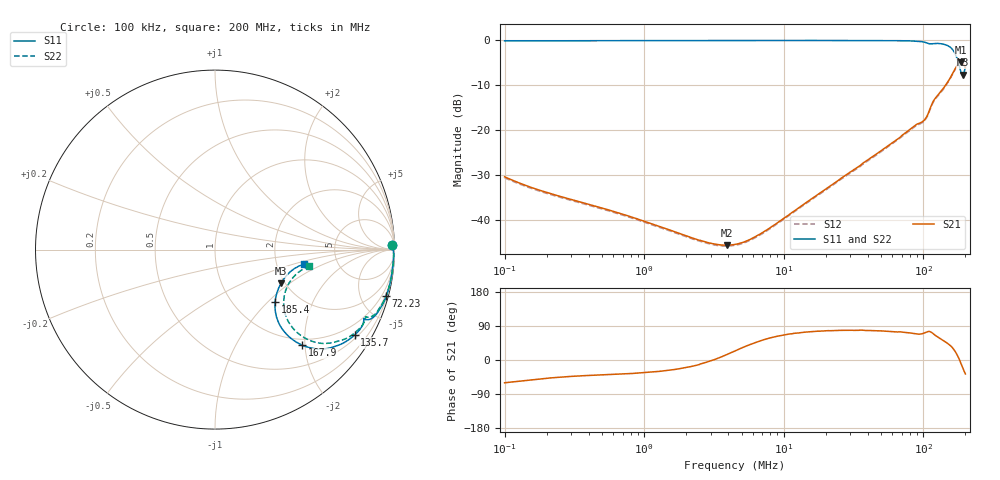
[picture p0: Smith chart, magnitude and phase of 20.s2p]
#  HZ  S  RI  R  50.00
! Rohde & Schwarz Vector Network Analyzer
! Rohde-Schwarz,ZNLE6-2Port,1323001256200024,1.71.1.10-23.02.1.238
! Created: UTC 4/8/2025, 3:26:37 AM
! freq[Hz]  re:S11  im:S11  re:S21  im:S21  re:S12  im:S12  re:S22  im:S22
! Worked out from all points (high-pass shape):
!   1001 points, 100 kHz to 200 MHz, reference 50 ohm
!   highest |S21| = -4.89 dB at 185.4 MHz (marker M1); lowest = -45.6 dB at 3.9 MHz (marker M2)
!   |S21| within 3 dB of the highest: 158.7 MHz to end of sweep
!   lowest |S11| = -7.7 dB at 191.1 MHz (marker M3), VSWR 2.41, Z = 95.2 - j43.3 ohm
!   |S11| at or under -10 dB: nowhere
!   |S22| runs from -6.9 to 0.0 dB; largest |S21 - S12| = 0.0075
!   S11 on the Smith chart (normalised r, x): 100 kHz: 32, +58; 72.23 MHz: 0.33, -7.45; 135.7 MHz: 0.61, -3.45; 167.9 MHz: 0.88, -1.95; 185.4 MHz: 1.52, -1.11; 200 MHz: 2.87, -0.63
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100000  0.9851 0.026  0.0151 -0.0262  0.0147 -0.0255  0.9855 0.0252
172851.9  0.9862 0.0163  0.0139 -0.0168  0.0135 -0.0164  0.9867 0.0159
355854.1  0.9883 0.00957  0.0118 -0.0105  0.0115 -0.0102  0.9887 0.00938
1266322  0.9925 0.00119  0.0074 -0.00431  0.00722 -0.00421  0.9928 0.00135
2749471  0.9944 -0.00647  0.00566 -0.000654  0.00551 -0.000757  0.9947 -0.00483
3900286  0.9948 -0.0112  0.00508 0.00129  0.00498 0.00119  0.9955 -0.00847
4472136  0.9948 -0.013  0.0049 0.00217  0.00479 0.00206  0.9956 -0.0108
7110135  0.9953 -0.023  0.0044 0.00583  0.00438 0.00561  0.9956 -0.0213
1.591428e7  0.9943 -0.0541  0.00454 0.0168  0.00459 0.0163  0.9949 -0.051
3.251501e7  0.9887 -0.1128  0.00745 0.0364  0.00813 0.0353  0.9897 -0.1064
5.663162e7  0.9722 -0.2007  0.0169 0.0659  0.0176 0.0638  0.9748 -0.1894
7.222574e7  0.9536 -0.2602  0.0261 0.0863  0.0268 0.0835  0.9577 -0.2464
1.016807e8  0.874 -0.3827  0.0415 0.1231  0.0425 0.1196  0.8898 -0.3614
1.130974e8  0.8288 -0.3846  0.0504 0.1755  0.051 0.1705  0.8402 -0.3743
1.21105e8  0.8268 -0.4064  0.0928 0.2041  0.0921 0.1987  0.8366 -0.3887
1.357305e8  0.7777 -0.4761  0.1653 0.2244  0.1624 0.2178  0.7931 -0.4506
1.521223e8  0.6674 -0.5398  0.2692 0.2365  0.2648 0.2327  0.6912 -0.5083
1.679215e8  0.4866 -0.5328  0.4331 0.1935  0.4268 0.1895  0.5284 -0.5062
1.757569e8  0.3896 -0.4617  0.5207 0.1051  0.5141 0.1035  0.4371 -0.4412
1.853616e8  0.3346 -0.2932  0.5639 -0.0779  0.5579 -0.0784  0.3829 -0.2859
1.910838e8  0.3677 -0.1884  0.5243 -0.1909  0.5184 -0.1906  0.4125 -0.1864
2e8  0.4967 -0.0812  0.3957 -0.2967  0.3911 -0.2976  0.5241 -0.0925
